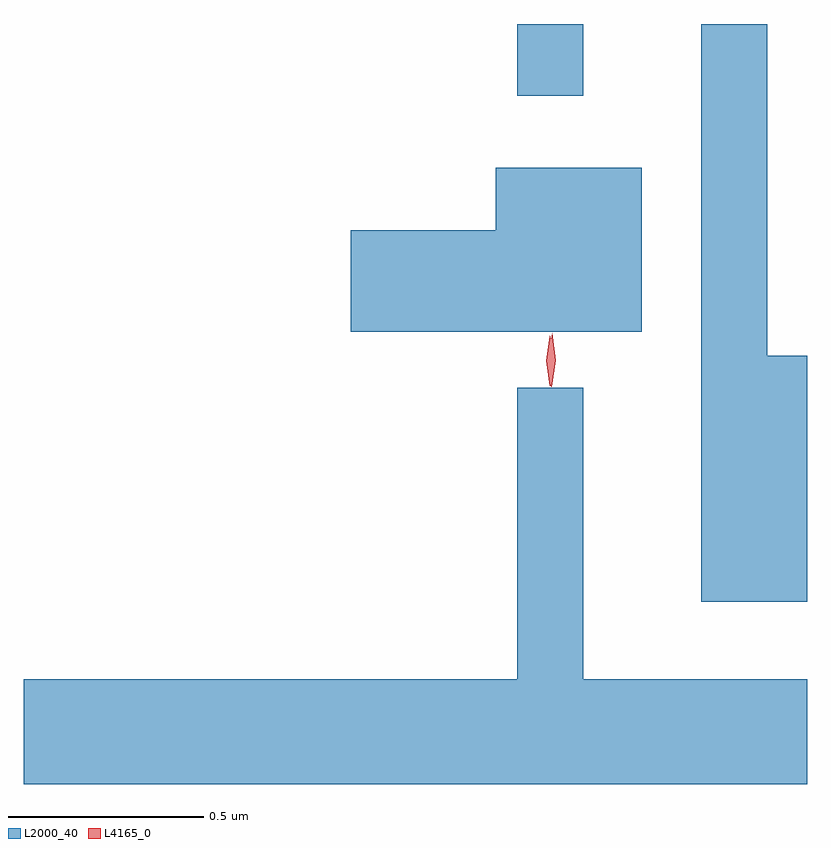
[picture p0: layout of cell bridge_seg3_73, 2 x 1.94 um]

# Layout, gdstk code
import gdstk
lib = gdstk.Library(unit=1e-6, precision=1e-09)
def R(c, l, rs):  # rectangles x0, y0, x1, y1
    for r in rs: c.add(gdstk.rectangle(r[:2], r[2:], *l))
def P(c, l, *ps):  # polygons
    for p in ps: c.add(gdstk.Polygon(p, *l))
L2000_40 = (2000, 40)
L4165_0 = (4165, 0)

bridge_seg3_73 = lib.new_cell('bridge_seg3_73')
R(bridge_seg3_73, L2000_40, [(1128.511,1161.073,1128.679,1161.256)])
P(bridge_seg3_73, L2000_40, [(1129.251,1160.409),(1129.149,1160.409),(1129.149,1161.256),(1128.981,1161.256),(1128.981,1159.781),(1129.251,1159.781)],
  [(1128.829,1160.889),(1128.456,1160.889),(1128.456,1160.729),(1128.086,1160.729),(1128.086,1160.471),(1128.829,1160.471)],
  [(1129.251,1159.584),(1128.679,1159.584),(1128.679,1160.328),(1128.511,1160.328),(1128.511,1159.584),(1127.251,1159.584),(1127.251,1159.316),(1129.251,1159.316)])
P(bridge_seg3_73, L4165_0, [(1128.598,1160.33),(1128.598,1160.33),(1128.589,1160.398),(1128.6,1160.466),(1128.6,1160.466),(1128.6,1160.466),(1128.609,1160.398),(1128.599,1160.33)],
  [(1128.594,1160.333),(1128.585,1160.396),(1128.594,1160.459),(1128.594,1160.46),(1128.595,1160.459),(1128.605,1160.396),(1128.596,1160.333),(1128.595,1160.333)])

lib.write_gds('bridge_seg3_73.gds')
